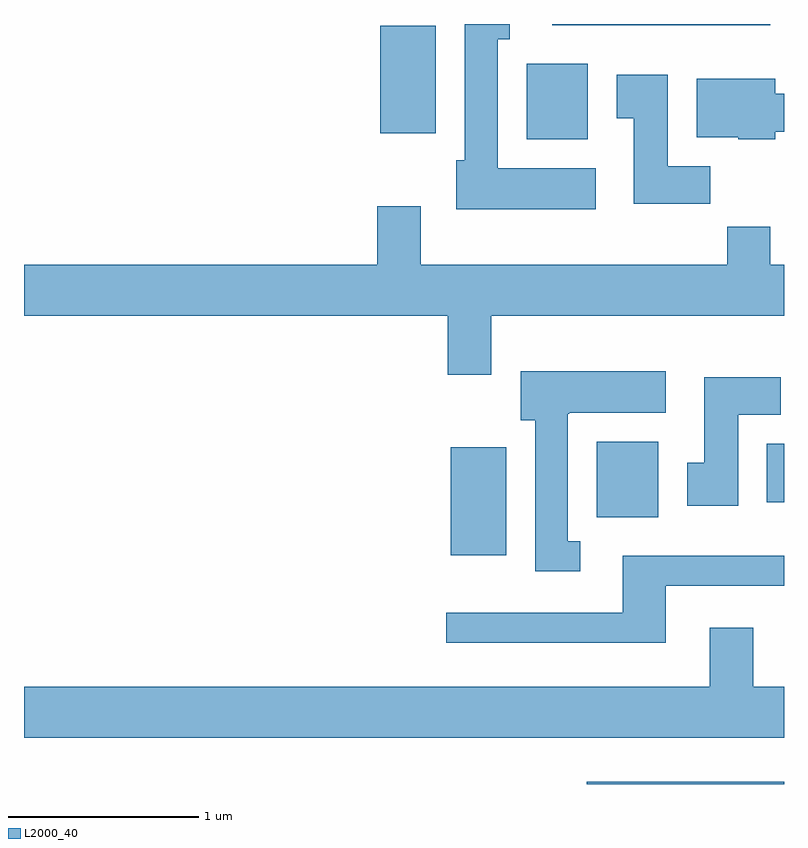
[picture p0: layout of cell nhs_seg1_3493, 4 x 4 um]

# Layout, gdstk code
import gdstk
lib = gdstk.Library(unit=1e-6, precision=1e-09)
def R(c, l, rs):  # rectangles x0, y0, x1, y1
    for r in rs: c.add(gdstk.rectangle(r[:2], r[2:], *l))
def P(c, l, *ps):  # polygons
    for p in ps: c.add(gdstk.Polygon(p, *l))
L2000_40 = (2000, 40)

nhs_seg1_3493 = lib.new_cell('nhs_seg1_3493')
R(nhs_seg1_3493, L2000_40, [(292.573,963.712,293.611,963.724), (291.856,964.916,292.149,965.484), (292.626,965.116,292.949,965.514), (293.521,965.196,293.611,965.504), (292.256,967.106,292.579,967.504), (291.486,967.136,291.779,967.704), (292.391,967.706,293.539,967.712)])
P(nhs_seg1_3493, L2000_40, [(292.619,966.954),(292.104,966.954),(292.104,967.631),(292.168,967.631),(292.168,967.712),(291.931,967.712),(291.931,966.994),(291.886,966.994),(291.886,966.736),(292.619,966.736)],
  [(293.224,966.964),(292.999,966.964),(292.999,967.444),(292.731,967.444),(292.731,967.216),(292.821,967.216),(292.821,966.766),(293.224,966.766)],
  [(293.564,967.146),(293.611,967.146),(293.611,967.344),(293.564,967.344),(293.564,967.424),(293.151,967.424),(293.151,967.116),(293.37,967.116),(293.37,967.106),(293.564,967.106)],
  [(292.069,966.176),(293.611,966.176),(293.611,966.444),(293.539,966.444),(293.539,966.644),(293.311,966.644),(293.311,966.444),(291.699,966.444),(291.699,966.754),(291.471,966.754),(291.471,966.444),(289.611,966.444),(289.611,966.176),(291.841,966.176),(291.841,965.866),(292.069,965.866)],
  [(292.538,964.989),(292.474,964.989),(292.474,965.66),(292.48,965.66),(292.48,965.666),(292.989,965.666),(292.989,965.884),(292.226,965.884),(292.226,965.626),(292.301,965.626),(292.301,964.831),(292.538,964.831)],
  [(293.369,965.656),(293.594,965.656),(293.594,965.854),(293.191,965.854),(293.191,965.404),(293.101,965.404),(293.101,965.176),(293.369,965.176)],
  [(292.989,964.756),(293.611,964.756),(293.611,964.914),(292.761,964.914),(292.761,964.614),(291.833,964.614),(291.833,964.456),(292.989,964.456)],
  [(293.611,964.224),(293.449,964.224),(293.449,964.534),(293.221,964.534),(293.221,964.224),(289.611,964.224),(289.611,963.956),(293.611,963.956)])

lib.write_gds('nhs_seg1_3493.gds')
